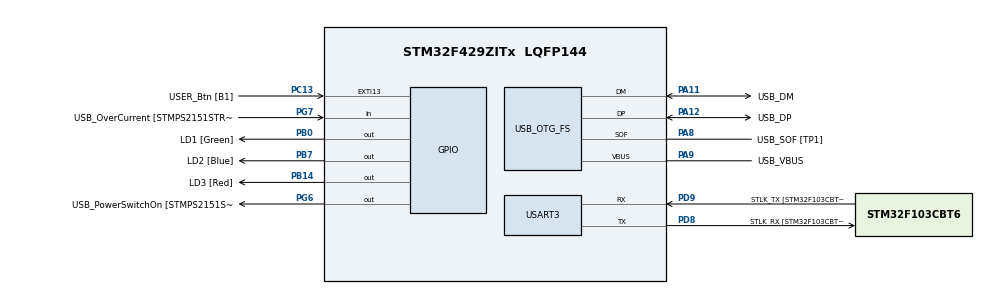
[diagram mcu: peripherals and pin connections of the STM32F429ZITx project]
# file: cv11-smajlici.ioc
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Mcu.Family=STM32F4
Mcu.Name=STM32F429ZITx
Mcu.Package=LQFP144
NVIC.OTG_FS_IRQn=true\:0\:0\:false\:false\:true\:false\:true\:true
NVIC.PriorityGroup=NVIC_PRIORITYGROUP_4
PA1.GPIO_Label=RMII_REF_CLK [LAN8742A-CZ-TR_REFCLK0]
PA1.Signal=ETH_REF_CLK
PA10.GPIO_Label=USB_ID
PA10.Signal=USB_OTG_FS_ID
PA11.GPIO_Label=USB_DM
PA11.Mode=Device_Only
PA11.Signal=USB_OTG_FS_DM
PA12.GPIO_Label=USB_DP
PA12.Mode=Device_Only
PA12.Signal=USB_OTG_FS_DP
PA13.GPIO_Label=TMS
PA13.Mode=Serial_Wire
PA13.Signal=SYS_JTMS-SWDIO
PA14.GPIO_Label=TCK
PA14.Mode=Serial_Wire
PA14.Signal=SYS_JTCK-SWCLK
PA2.GPIO_Label=RMII_MDIO [LAN8742A-CZ-TR_MDIO]
PA2.Signal=ETH_MDIO
PA7.GPIO_Label=RMII_CRS_DV [LAN8742A-CZ-TR_CRS_DV]
PA7.Signal=ETH_CRS_DV
PA8.GPIO_Label=USB_SOF [TP1]
PA8.Mode=Activate_SOF_FS
PA8.Signal=USB_OTG_FS_SOF
PA9.GPIO_Label=USB_VBUS
PA9.Mode=Activate_VBUS
PA9.Signal=USB_OTG_FS_VBUS
PB0.GPIO_Label=LD1 [Green]
PB0.Signal=GPIO_Output
PB13.GPIO_Label=RMII_TXD1 [LAN8742A-CZ-TR_TXD1]
PB13.Signal=ETH_TXD1
PB14.GPIO_Label=LD3 [Red]
PB14.Signal=GPIO_Output
PB7.GPIO_Label=LD2 [Blue]
PB7.Signal=GPIO_Output
PC1.GPIO_Label=RMII_MDC [LAN8742A-CZ-TR_MDC]
PC1.Signal=ETH_MDC
PC13.GPIO_Label=USER_Btn [B1]
PC13.Signal=GPXTI13
PC14/OSC32_IN.Mode=LSE-External-Oscillator
PC14/OSC32_IN.Signal=RCC_OSC32_IN
PC15/OSC32_OUT.Mode=LSE-External-Oscillator
PC15/OSC32_OUT.Signal=RCC_OSC32_OUT
PC4.GPIO_Label=RMII_RXD0 [LAN8742A-CZ-TR_RXD0]
PC4.Signal=ETH_RXD0
PC5.GPIO_Label=RMII_RXD1 [LAN8742A-CZ-TR_RXD1]
PC5.Signal=ETH_RXD1
PD8.GPIO_Label=STLK_RX [STM32F103CBT6_PA3]
PD8.Mode=Asynchronous
PD8.Signal=USART3_TX
PD9.GPIO_Label=STLK_TX [STM32F103CBT6_PA2]
PD9.Mode=Asynchronous
PD9.Signal=USART3_RX
PG11.GPIO_Label=RMII_TX_EN [LAN8742A-CZ-TR_TXEN]
PG11.Signal=ETH_TX_EN
PG13.GPIO_Label=RMII_TXD0 [LAN8742A-CZ-TR_TXD0]
PG13.Signal=ETH_TXD0
PG6.GPIO_Label=USB_PowerSwitchOn [STMPS2151STR_EN]
PG6.Signal=GPIO_Output
PG7.GPIO_Label=USB_OverCurrent [STMPS2151STR_FAULT]
PG7.Signal=GPIO_Input
PH0/OSC_IN.GPIO_Label=MCO [STM32F103CBT6_PA8]
PH0/OSC_IN.Mode=HSE-External-Clock-Source
PH0/OSC_IN.Signal=RCC_OSC_IN
PH1/OSC_OUT.Mode=HSE-External-Clock-Source
PH1/OSC_OUT.Signal=RCC_OSC_OUT
ProjectManager.HeapSize=0x200
ProjectManager.StackSize=0x400
ProjectManager.TargetToolchain=STM32CubeIDE
RCC.48MHZClocksFreq_Value=48000000
RCC.AHBFreq_Value=168000000
RCC.APB1CLKDivider=RCC_HCLK_DIV4
RCC.APB1Freq_Value=42000000
RCC.APB1TimFreq_Value=84000000
RCC.APB2CLKDivider=RCC_HCLK_DIV2
RCC.APB2Freq_Value=84000000
RCC.APB2TimCLKDivider=2
RCC.APB2TimFreq_Value=168000000
RCC.CortexFreq_Value=168000000
RCC.HCLKFreq_Value=168000000
RCC.HSE_VALUE=8000000
RCC.HSI_VALUE=16000000
RCC.PLLM=4
RCC.PLLMUL=RCC_PLL_MUL9
RCC.PLLN=168
RCC.PLLQ=7
RCC.PRESCALERUSB=RCC_USBCLKSOURCE_PLL_DIV1_5
RCC.SYSCLKFreq_VALUE=168000000
RCC.SYSCLKSource=RCC_SYSCLKSOURCE_PLLCLK
RCC.SYSCLKSourceVirtual=RCC_SYSCLKSOURCE_PLLCLK
RCC.USBFreq_Value=48000000
RCC.VCOOutputFreq_Value=336000000
USART3.VirtualMode=VM_ASYNC
USB_DEVICE.CLASS_NAME_FS=HID
USB_DEVICE.VirtualMode-HID_FS=Hid
USB_DEVICE.VirtualModeFS=Hid_FS
USB_OTG_FS.VirtualMode=Device_Only
VP_USB_DEVICE_VS_USB_DEVICE_HID_FS.Mode=HID_FS
board=NUCLEO-F429ZI

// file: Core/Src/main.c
/* USER CODE BEGIN Header */
/**
 ******************************************************************************
 * @file           : main.c
 * @brief          : Main program body
 ******************************************************************************
 * @attention
 *
 * Copyright (c) 2023 STMicroelectronics.
 * All rights reserved.
 *
 * This software is licensed under terms that can be found in the LICENSE file
 * in the root directory of this software component.
 * If no LICENSE file comes with this software, it is provided AS-IS.
 *
 ******************************************************************************
 */
/* USER CODE END Header */
#include "main.h"
#include "usb_device.h"

/* USER CODE BEGIN Includes */
#include "usbd_hid.h"
#include <math.h>
/* USER CODE END Includes */

UART_HandleTypeDef huart3;

void SystemClock_Config(void);
static void MX_GPIO_Init(void);
static void MX_USART3_UART_Init(void);

/* USER CODE BEGIN 0 */
extern USBD_HandleTypeDef hUsbDeviceFS;

static void posunMys(int8_t x, int8_t y, uint8_t tlacitko ) {

	uint8_t buff[4];
	buff[0] = tlacitko; // stiskni leve tlacitko
	buff[1] =  (x); // posun X
	buff[2] =  (-y); // posun Y
	buff[3] = 0; // bez scrollu
	USBD_HID_SendReport(&hUsbDeviceFS, buff, sizeof(buff));
	HAL_Delay(USBD_HID_GetPollingInterval(&hUsbDeviceFS));

}

static void kresliKruznici(uint8_t radius) {

	 float sx;
	 float sy;

	 float x;
	float y;

	int step;
	int tlacitko;
	tlacitko = 0x00;
	posunMys(radius, 0, tlacitko);
	for (step = 0; step < 61; step++) {

		sx = radius * cosf(step * 6 * M_PI / 180);
		sy = radius * sinf(step * 6 *  M_PI / 180);

		x = radius * cosf((step +1) * 6 * M_PI / 180) - sx;
		y = radius * sinf((step +1)* 6 * M_PI / 180) - sy;

		tlacitko = 0x01;
		posunMys(x, y, tlacitko);

	}

}
static void pustTlacidlo(){posunMys(0, 0, 0x00);}

static void kresliUsmev(uint8_t radius) {

	static float sx;
	static float sy;

	static float x;
	static float y;

	int step;
	int tlacitko;
	tlacitko = 0x00;
	posunMys(0, -radius, tlacitko);

	for (step = 0; step < 31; step++) {

		sx = radius * cosf(step * 6 * M_PI / 180);
		sy = radius * sinf(step * 6 *  M_PI / 180);

		x = -(radius * cosf((step +1) * 6 * M_PI / 180) - sx);
		y = -(radius * sinf((step +1)* 6 * M_PI / 180) - sy);

		tlacitko = 0x01;
		posunMys(x, y, tlacitko);

	}

}

/* USER CODE END 0 */

int main(void) {

/* Reset of all peripherals, Initializes the Flash interface and the Systick. */
HAL_Init();

/* Configure the system clock */
SystemClock_Config();

/* Initialize all configured peripherals */
MX_GPIO_Init();
MX_USART3_UART_Init();
MX_USB_DEVICE_Init();

/* Infinite loop */
/* USER CODE BEGIN WHILE */
while (1) {
	//tuna pis
	if (HAL_GPIO_ReadPin(USER_Btn_GPIO_Port, USER_Btn_Pin)) {

		kresliKruznici(60);
		pustTlacidlo();
		posunMys(-30, -5, 0x01);
		posunMys(0, 15, 0x00);
		posunMys(8, 0, 0x00);
		kresliKruznici(20);
		pustTlacidlo();
		posunMys(-50, 0, 0x00);
		kresliKruznici(20);
		pustTlacidlo();
		posunMys(-3, 6, 0x00);
		kresliUsmev(30);
		pustTlacidlo();
	//	posunMys( 0, 30, 0x01);
		/*posunMys( 15, 10, 0x00);
		kresliKruznici(20);
		posunMys( 30, 0, 0x00);
		kresliKruznici(20);
		//posunMys();*/
	}

	/* USER CODE END WHILE */

}
}

void SystemClock_Config(void) {
RCC_OscInitTypeDef RCC_OscInitStruct = { 0 };
RCC_ClkInitTypeDef RCC_ClkInitStruct = { 0 };

/** Configure the main internal regulator output voltage
 */
__HAL_RCC_PWR_CLK_ENABLE();
__HAL_PWR_VOLTAGESCALING_CONFIG(PWR_REGULATOR_VOLTAGE_SCALE1);

/** Initializes the RCC Oscillators according to the specified parameters
 * in the RCC_OscInitTypeDef structure.
 */
RCC_OscInitStruct.OscillatorType = RCC_OSCILLATORTYPE_HSE;
RCC_OscInitStruct.HSEState = RCC_HSE_BYPASS;
RCC_OscInitStruct.PLL.PLLState = RCC_PLL_ON;
RCC_OscInitStruct.PLL.PLLSource = RCC_PLLSOURCE_HSE;
RCC_OscInitStruct.PLL.PLLM = 4;
RCC_OscInitStruct.PLL.PLLN = 168;
RCC_OscInitStruct.PLL.PLLP = RCC_PLLP_DIV2;
RCC_OscInitStruct.PLL.PLLQ = 7;
if (HAL_RCC_OscConfig(&RCC_OscInitStruct) != HAL_OK) {
	Error_Handler();
}

/** Initializes the CPU, AHB and APB buses clocks
 */
RCC_ClkInitStruct.ClockType = RCC_CLOCKTYPE_HCLK | RCC_CLOCKTYPE_SYSCLK
		| RCC_CLOCKTYPE_PCLK1 | RCC_CLOCKTYPE_PCLK2;
RCC_ClkInitStruct.SYSCLKSource = RCC_SYSCLKSOURCE_PLLCLK;
RCC_ClkInitStruct.AHBCLKDivider = RCC_SYSCLK_DIV1;
RCC_ClkInitStruct.APB1CLKDivider = RCC_HCLK_DIV4;
RCC_ClkInitStruct.APB2CLKDivider = RCC_HCLK_DIV2;

if (HAL_RCC_ClockConfig(&RCC_ClkInitStruct, FLASH_LATENCY_5) != HAL_OK) {
	Error_Handler();
}
}

static void MX_USART3_UART_Init(void) {

huart3.Instance = USART3;
huart3.Init.BaudRate = 115200;
huart3.Init.WordLength = UART_WORDLENGTH_8B;
huart3.Init.StopBits = UART_STOPBITS_1;
huart3.Init.Parity = UART_PARITY_NONE;
huart3.Init.Mode = UART_MODE_TX_RX;
huart3.Init.HwFlowCtl = UART_HWCONTROL_NONE;
huart3.Init.OverSampling = UART_OVERSAMPLING_16;
if (HAL_UART_Init(&huart3) != HAL_OK) {
	Error_Handler();
}

}

static void MX_GPIO_Init(void) {
GPIO_InitTypeDef GPIO_InitStruct = { 0 };

/* GPIO Ports Clock Enable */
__HAL_RCC_GPIOC_CLK_ENABLE();
__HAL_RCC_GPIOH_CLK_ENABLE();
__HAL_RCC_GPIOA_CLK_ENABLE();
__HAL_RCC_GPIOB_CLK_ENABLE();
__HAL_RCC_GPIOD_CLK_ENABLE();
__HAL_RCC_GPIOG_CLK_ENABLE();

/*Configure GPIO pin Output Level */
HAL_GPIO_WritePin(GPIOB, LD1_Pin | LD3_Pin | LD2_Pin, GPIO_PIN_RESET);

/*Configure GPIO pin Output Level */
HAL_GPIO_WritePin(USB_PowerSwitchOn_GPIO_Port, USB_PowerSwitchOn_Pin,
		GPIO_PIN_RESET);

/*Configure GPIO pin : USER_Btn_Pin */
GPIO_InitStruct.Pin = USER_Btn_Pin;
GPIO_InitStruct.Mode = GPIO_MODE_IT_RISING;
GPIO_InitStruct.Pull = GPIO_NOPULL;
HAL_GPIO_Init(USER_Btn_GPIO_Port, &GPIO_InitStruct);

/*Configure GPIO pins : RMII_MDC_Pin RMII_RXD0_Pin RMII_RXD1_Pin */
GPIO_InitStruct.Pin = RMII_MDC_Pin | RMII_RXD0_Pin | RMII_RXD1_Pin;
GPIO_InitStruct.Mode = GPIO_MODE_AF_PP;
GPIO_InitStruct.Pull = GPIO_NOPULL;
GPIO_InitStruct.Speed = GPIO_SPEED_FREQ_VERY_HIGH;
GPIO_InitStruct.Alternate = GPIO_AF11_ETH;
HAL_GPIO_Init(GPIOC, &GPIO_InitStruct);

/*Configure GPIO pins : RMII_REF_CLK_Pin RMII_MDIO_Pin RMII_CRS_DV_Pin */
GPIO_InitStruct.Pin = RMII_REF_CLK_Pin | RMII_MDIO_Pin | RMII_CRS_DV_Pin;
GPIO_InitStruct.Mode = GPIO_MODE_AF_PP;
GPIO_InitStruct.Pull = GPIO_NOPULL;
GPIO_InitStruct.Speed = GPIO_SPEED_FREQ_VERY_HIGH;
GPIO_InitStruct.Alternate = GPIO_AF11_ETH;
HAL_GPIO_Init(GPIOA, &GPIO_InitStruct);

/*Configure GPIO pins : LD1_Pin LD3_Pin LD2_Pin */
GPIO_InitStruct.Pin = LD1_Pin | LD3_Pin | LD2_Pin;
GPIO_InitStruct.Mode = GPIO_MODE_OUTPUT_PP;
GPIO_InitStruct.Pull = GPIO_NOPULL;
GPIO_InitStruct.Speed = GPIO_SPEED_FREQ_LOW;
HAL_GPIO_Init(GPIOB, &GPIO_InitStruct);

/*Configure GPIO pin : RMII_TXD1_Pin */
GPIO_InitStruct.Pin = RMII_TXD1_Pin;
GPIO_InitStruct.Mode = GPIO_MODE_AF_PP;
GPIO_InitStruct.Pull = GPIO_NOPULL;
GPIO_InitStruct.Speed = GPIO_SPEED_FREQ_VERY_HIGH;
GPIO_InitStruct.Alternate = GPIO_AF11_ETH;
HAL_GPIO_Init(RMII_TXD1_GPIO_Port, &GPIO_InitStruct);

/*Configure GPIO pin : USB_PowerSwitchOn_Pin */
GPIO_InitStruct.Pin = USB_PowerSwitchOn_Pin;
GPIO_InitStruct.Mode = GPIO_MODE_OUTPUT_PP;
GPIO_InitStruct.Pull = GPIO_NOPULL;
GPIO_InitStruct.Speed = GPIO_SPEED_FREQ_LOW;
HAL_GPIO_Init(USB_PowerSwitchOn_GPIO_Port, &GPIO_InitStruct);

/*Configure GPIO pin : USB_OverCurrent_Pin */
GPIO_InitStruct.Pin = USB_OverCurrent_Pin;
GPIO_InitStruct.Mode = GPIO_MODE_INPUT;
GPIO_InitStruct.Pull = GPIO_NOPULL;
HAL_GPIO_Init(USB_OverCurrent_GPIO_Port, &GPIO_InitStruct);

/*Configure GPIO pins : RMII_TX_EN_Pin RMII_TXD0_Pin */
GPIO_InitStruct.Pin = RMII_TX_EN_Pin | RMII_TXD0_Pin;
GPIO_InitStruct.Mode = GPIO_MODE_AF_PP;
GPIO_InitStruct.Pull = GPIO_NOPULL;
GPIO_InitStruct.Speed = GPIO_SPEED_FREQ_VERY_HIGH;
GPIO_InitStruct.Alternate = GPIO_AF11_ETH;
HAL_GPIO_Init(GPIOG, &GPIO_InitStruct);

}

void Error_Handler(void) {
__disable_irq();
while (1) {
}
}
